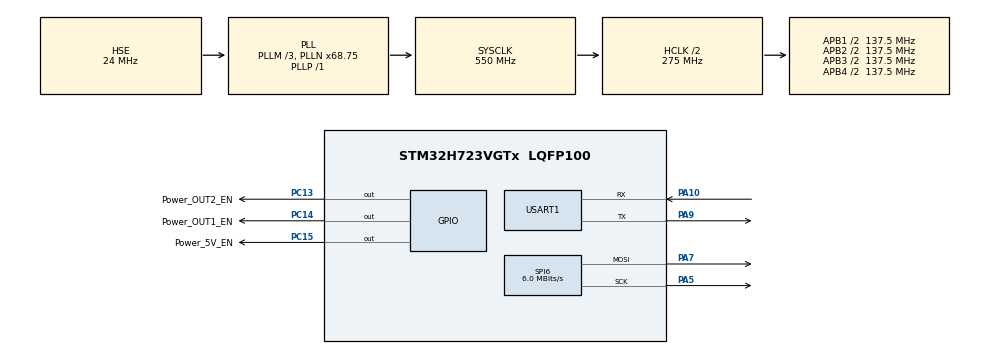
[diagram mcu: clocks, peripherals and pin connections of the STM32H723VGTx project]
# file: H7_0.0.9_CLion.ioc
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CORTEX_M7.CPU_ICache=Enabled
CORTEX_M7.MPU_Control=__NULL
CORTEX_M7.default_mode_Activation=1
Mcu.Family=STM32H7
Mcu.Name=STM32H723VGTx
Mcu.Package=LQFP100
NVIC.PriorityGroup=NVIC_PRIORITYGROUP_4
PA10.Mode=Asynchronous
PA10.Signal=USART1_RX
PA13(JTMS/SWDIO).Mode=Serial_Wire
PA13(JTMS/SWDIO).Signal=DEBUG_JTMS-SWDIO
PA14(JTCK/SWCLK).Mode=Serial_Wire
PA14(JTCK/SWCLK).Signal=DEBUG_JTCK-SWCLK
PA5.Mode=TX_Only_Simplex_Unidirect_Master
PA5.Signal=SPI6_SCK
PA7.Mode=TX_Only_Simplex_Unidirect_Master
PA7.Signal=SPI6_MOSI
PA9.Mode=Asynchronous
PA9.Signal=USART1_TX
PC13.GPIO_Label=Power_OUT2_EN
PC13.Signal=GPIO_Output
PC14-OSC32_IN.GPIO_Label=Power_OUT1_EN
PC14-OSC32_IN.Signal=GPIO_Output
PC15-OSC32_OUT.GPIO_Label=Power_5V_EN
PC15-OSC32_OUT.Signal=GPIO_Output
PH0-OSC_IN.Mode=HSE-External-Oscillator
PH0-OSC_IN.Signal=RCC_OSC_IN
PH1-OSC_OUT.Mode=HSE-External-Oscillator
PH1-OSC_OUT.Signal=RCC_OSC_OUT
ProjectManager.HeapSize=0x200
ProjectManager.StackSize=0x400
ProjectManager.TargetToolchain=STM32CubeIDE
RCC.ADCFreq_Value=48375000
RCC.APB1Freq_Value=137500000
RCC.APB2Freq_Value=137500000
RCC.APB3Freq_Value=137500000
RCC.APB4Freq_Value=137500000
RCC.CortexFreq_Value=550000000
RCC.D1PPRE=RCC_APB3_DIV2
RCC.D2PPRE1=RCC_APB1_DIV2
RCC.D2PPRE2=RCC_APB2_DIV2
RCC.D3PPRE=RCC_APB4_DIV2
RCC.DIVM1=3
RCC.DIVN1=68
RCC.DIVP1=1
RCC.HCLKFreq_Value=275000000
RCC.HPRE=RCC_HCLK_DIV2
RCC.HSE_VALUE=24000000
RCC.PLL2FRACN=0
RCC.PLL3FRACN=0
RCC.PLLFRACN=6144
RCC.PLLSourceVirtual=RCC_PLLSOURCE_HSE
RCC.SPI6CLockSelection=RCC_SPI6CLKSOURCE_HSE
RCC.SYSCLKFreq_VALUE=550000000
RCC.SYSCLKSource=RCC_SYSCLKSOURCE_PLLCLK
RCC.USBFreq_Value=275000000
SPI6.BaudRatePrescaler=SPI_BAUDRATEPRESCALER_4
SPI6.CLKPhase=SPI_PHASE_2EDGE
SPI6.CalculateBaudRate=6.0 MBits/s
SPI6.DataSize=SPI_DATASIZE_8BIT
SPI6.Direction=SPI_DIRECTION_2LINES_TXONLY
SPI6.Mode=SPI_MODE_MASTER
SPI6.VirtualType=VM_MASTER
USART1.VirtualMode-Asynchronous=VM_ASYNC
VP_MEMORYMAP_VS_MEMORYMAP.Mode=CurAppReg
board=custom

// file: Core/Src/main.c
/* USER CODE BEGIN Header */
/**
  ******************************************************************************
  * @file           : main.c
  * @brief          : Main program body
  ******************************************************************************
  * @attention
  *
  * Copyright (c) 2026 STMicroelectronics.
  * All rights reserved.
  *
  * This software is licensed under terms that can be found in the LICENSE file
  * in the root directory of this software component.
  * If no LICENSE file comes with this software, it is provided AS-IS.
  *
  ******************************************************************************
  */
/* USER CODE END Header */
#include "main.h"
#include "spi.h"
#include "usart.h"
#include "gpio.h"

/* USER CODE BEGIN Includes */
#include <string.h>

#include "ws2812.h"
/* USER CODE END Includes */

/* USER CODE BEGIN PV */
uint8_t r = 0;
uint8_t g = 0;
uint8_t b = 0;
/* USER CODE END PV */

void SystemClock_Config(void);

/* USER CODE BEGIN 0 */
uint8_t data[8] = {0x00, 0x01, 0x02, 0x03, 0x04, 0x05, 0x06, 0x07};
uint8_t data_enable[10] = {0x01, 0xA0, 0x08, 0x00, 0x00, 0x00, 0x00, 0x00, 0x00, 0x6F};
uint8_t data_speed_loop[10] = {0x01, 0xA0, 0x02, 0x00, 0x00, 0x00, 0x00, 0x00, 0x00, 0xE4};
uint8_t data_30RPM[10] = {0x01, 0x64, 0x01, 0x2C, 0x00, 0x00, 0x00, 0x00, 0x00, 0xA6};

char message[] = "Hello World!";

/* USER CODE END 0 */

int main(void) {

    /* Enable the CPU Cache */

    /* Enable I-Cache---------------------------------------------------------*/
    SCB_EnableICache();

    /* MCU Configuration--------------------------------------------------------*/

    /* Reset of all peripherals, Initializes the Flash interface and the Systick. */
    HAL_Init();

    /* Configure the system clock */
    SystemClock_Config();

    /* Initialize all configured peripherals */
    MX_GPIO_Init();
    MX_SPI6_Init();
    MX_USART1_UART_Init();
    /* USER CODE BEGIN 2 */
    uint8_t rx_data[2];
    /* USER CODE END 2 */

    /* Infinite loop */
    /* USER CODE BEGIN WHILE */
    while (1) {
        // HAL_UART_Transmit(&huart1, 	data, 8, 0xffff);
        // HAL_UART_Transmit(&huart1, (uint8_t *) message, strlen(message), 100);

        // HAL_UART_Receive(&huart1, rx_data, 2, HAL_MAX_DELAY);
        // if (rx_data[0] == 'R') {
        //     if (rx_data[1] == '0') {
        //         r = 0;
        //     } else {
        //         r = 15;
        //     }
        // } else if (rx_data[0] == 'G') {
        //     if (rx_data[1] == '0') {
        //         g = 0;
        //     } else {
        //         g = 15;
        //     }
        // } else if (rx_data[0] == 'B') {
        //     if (rx_data[1] == '0') {
        //         b = 0;
        //     } else {
        //         b = 15;
        //     }
        // }
        // // 将收到的数据返回
        // WS2812_Ctrl(r, g, b);
        // HAL_UART_Transmit(&huart1, rx_data, 2, HAL_MAX_DELAY);

        /* USER CODE END WHILE */

        /* USER CODE BEGIN 3 */
        r = 255;
        g = 0;
        b = 0;
        WS2812_Ctrl(r, g, b);
        HAL_Delay(200);
        r = 255;
        g = 255;
        b = 0;
        WS2812_Ctrl(r, g, b);
        HAL_Delay(200);
        r = 0;
        g = 255;
        b = 0;
        WS2812_Ctrl(r, g, b);
        HAL_Delay(200);
        r = 0;
        g = 255;
        b = 255;
        WS2812_Ctrl(r, g, b);
        HAL_Delay(200);
        r = 0;
        g = 0;
        b = 255;
        WS2812_Ctrl(r, g, b);
        HAL_Delay(200);
        r = 255;
        g = 0;
        b = 255;
        WS2812_Ctrl(r, g, b);
        HAL_Delay(200);
    }
    /* USER CODE END 3 */
}

void SystemClock_Config(void) {
    RCC_OscInitTypeDef RCC_OscInitStruct = {0};
    RCC_ClkInitTypeDef RCC_ClkInitStruct = {0};

    /** Supply configuration update enable
    */
    HAL_PWREx_ConfigSupply(PWR_LDO_SUPPLY);

    /** Configure the main internal regulator output voltage
    */
    __HAL_PWR_VOLTAGESCALING_CONFIG(PWR_REGULATOR_VOLTAGE_SCALE0);

    while (!__HAL_PWR_GET_FLAG(PWR_FLAG_VOSRDY)) {
    }

    /** Initializes the RCC Oscillators according to the specified parameters
    * in the RCC_OscInitTypeDef structure.
    */
    RCC_OscInitStruct.OscillatorType = RCC_OSCILLATORTYPE_HSE;
    RCC_OscInitStruct.HSEState = RCC_HSE_ON;
    RCC_OscInitStruct.PLL.PLLState = RCC_PLL_ON;
    RCC_OscInitStruct.PLL.PLLSource = RCC_PLLSOURCE_HSE;
    RCC_OscInitStruct.PLL.PLLM = 3;
    RCC_OscInitStruct.PLL.PLLN = 68;
    RCC_OscInitStruct.PLL.PLLP = 1;
    RCC_OscInitStruct.PLL.PLLQ = 2;
    RCC_OscInitStruct.PLL.PLLR = 2;
    RCC_OscInitStruct.PLL.PLLRGE = RCC_PLL1VCIRANGE_3;
    RCC_OscInitStruct.PLL.PLLVCOSEL = RCC_PLL1VCOWIDE;
    RCC_OscInitStruct.PLL.PLLFRACN = 6144;
    if (HAL_RCC_OscConfig(&RCC_OscInitStruct) != HAL_OK) {
        Error_Handler();
    }

    /** Initializes the CPU, AHB and APB buses clocks
    */
    RCC_ClkInitStruct.ClockType = RCC_CLOCKTYPE_HCLK | RCC_CLOCKTYPE_SYSCLK
                                  | RCC_CLOCKTYPE_PCLK1 | RCC_CLOCKTYPE_PCLK2
                                  | RCC_CLOCKTYPE_D3PCLK1 | RCC_CLOCKTYPE_D1PCLK1;
    RCC_ClkInitStruct.SYSCLKSource = RCC_SYSCLKSOURCE_PLLCLK;
    RCC_ClkInitStruct.SYSCLKDivider = RCC_SYSCLK_DIV1;
    RCC_ClkInitStruct.AHBCLKDivider = RCC_HCLK_DIV2;
    RCC_ClkInitStruct.APB3CLKDivider = RCC_APB3_DIV2;
    RCC_ClkInitStruct.APB1CLKDivider = RCC_APB1_DIV2;
    RCC_ClkInitStruct.APB2CLKDivider = RCC_APB2_DIV2;
    RCC_ClkInitStruct.APB4CLKDivider = RCC_APB4_DIV2;

    if (HAL_RCC_ClockConfig(&RCC_ClkInitStruct, FLASH_LATENCY_3) != HAL_OK) {
        Error_Handler();
    }
}

void Error_Handler(void) {
    __disable_irq();
    while (1) {
    }
}
